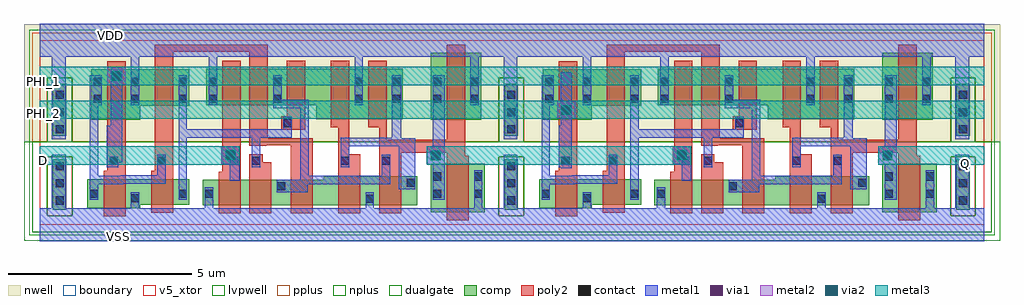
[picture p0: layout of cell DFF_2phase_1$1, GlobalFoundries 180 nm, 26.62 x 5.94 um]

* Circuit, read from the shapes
.subckt DFF_2phase_1$1 D PHI_1 PHI_2 Q VDD VSS
XM1 VSS PHI_1 n1 VSS nfet_05v0 w=0.79u l=0.6u
XM2 n2 n1 VSS VSS nfet_05v0 w=0.7u l=0.6u
XM3 n3 D VSS VSS nfet_05v0 w=0.7u l=0.6u
XM4 n4 n2 n3 VSS nfet_05v0 w=0.7u l=0.6u
XM5 n5 n1 n4 VSS nfet_05v0 w=0.7u l=0.6u
XM6 VSS n6 n5 VSS nfet_05v0 w=0.79u l=0.6u
XM7 n6 n4 VSS VSS nfet_05v0 w=0.79u l=0.6u
XM8 VSS n4 gf180mcu_fd_sc_mcu9t5v0__latq_1_4/D VSS nfet_05v0 w=1.32u l=0.6u
XM9 VSS PHI_2 n7 VSS nfet_05v0 w=0.79u l=0.6u
XM10 n8 n7 VSS VSS nfet_05v0 w=0.7u l=0.6u
XM11 n9 gf180mcu_fd_sc_mcu9t5v0__latq_1_4/D VSS VSS nfet_05v0 w=0.7u l=0.6u
XM12 n10 n8 n9 VSS nfet_05v0 w=0.7u l=0.6u
XM13 n11 n7 n10 VSS nfet_05v0 w=0.7u l=0.6u
XM14 VSS n12 n11 VSS nfet_05v0 w=0.79u l=0.6u
XM15 n12 n10 VSS VSS nfet_05v0 w=0.79u l=0.6u
XM16 VSS n10 Q VSS nfet_05v0 w=1.32u l=0.6u
XM17 VDD PHI_1 n1 VDD pfet_05v0 w=1.38u l=0.5u
XM18 n2 n1 VDD VDD pfet_05v0 w=1u l=0.5u
XM19 n13 D VDD VDD pfet_05v0 w=1u l=0.5u
XM20 n4 n1 n13 VDD pfet_05v0 w=1u l=0.5u
XM21 n14 n2 n4 VDD pfet_05v0 w=1u l=0.5u
XM22 VDD n6 n14 VDD pfet_05v0 w=1.38u l=0.5u
XM23 n6 n4 VDD VDD pfet_05v0 w=1.38u l=0.5u
XM24 VDD n4 gf180mcu_fd_sc_mcu9t5v0__latq_1_4/D VDD pfet_05v0 w=1.83u l=0.5u
XM25 VDD PHI_2 n7 VDD pfet_05v0 w=1.38u l=0.5u
XM26 n8 n7 VDD VDD pfet_05v0 w=1u l=0.5u
XM27 n15 gf180mcu_fd_sc_mcu9t5v0__latq_1_4/D VDD VDD pfet_05v0 w=1u l=0.5u
XM28 n10 n7 n15 VDD pfet_05v0 w=1u l=0.5u
XM29 n16 n8 n10 VDD pfet_05v0 w=1u l=0.5u
XM30 VDD n12 n16 VDD pfet_05v0 w=1.38u l=0.5u
XM31 n12 n10 VDD VDD pfet_05v0 w=1.38u l=0.5u
XM32 VDD n10 Q VDD pfet_05v0 w=1.83u l=0.5u
.ends

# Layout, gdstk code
import gdstk
lib = gdstk.Library(unit=1e-6, precision=1e-09)
def R(c, l, rs):  # rectangles x0, y0, x1, y1
    for r in rs: c.add(gdstk.rectangle(r[:2], r[2:], *l))
def A(c, l, x, y, w, h, nx, ny, dx, dy):  # array of equal rectangles
    R(c, l, [(x+i*dx, y+j*dy, x+i*dx+w, y+j*dy+h) for i in range(nx) for j in range(ny)])
def P(c, l, *ps):  # polygons
    for p in ps: c.add(gdstk.Polygon(p, *l))
boundary = (0, 0)
nwell = (21, 0)
comp = (22, 0)
poly2 = (30, 0)
pplus = (31, 0)
nplus = (32, 0)
contact = (33, 0)
metal1 = (34, 0)
via1 = (35, 0)
metal2 = (36, 0)
via2 = (38, 0)
metal3 = (42, 0)
dualgate = (55, 0)
v5_xtor = (112, 1)
lvpwell = (204, 0)

gf180mcu_fd_sc_mcu9t5v0_ = lib.new_cell('gf180mcu_fd_sc_mcu9t5v0__filltie')
R(gf180mcu_fd_sc_mcu9t5v0_, boundary, [(0,0,1.12,5.04)])
R(gf180mcu_fd_sc_mcu9t5v0_, nwell, [(-0.43,2.265,1.55,5.47)])
R(gf180mcu_fd_sc_mcu9t5v0_, comp, [(0.36,0.41,0.72,1.785), (0.36,2.425,0.72,3.855)])
R(gf180mcu_fd_sc_mcu9t5v0_, pplus, [(0.2,0.25,0.88,1.865)])
P(gf180mcu_fd_sc_mcu9t5v0_, pplus, [(-0.2,2.265),(-0.2,5.24),(1.32,5.24),(1.32,2.265),(0.88,2.265),(0.88,4.015),(0.2,4.015),(0.2,2.265)])
P(gf180mcu_fd_sc_mcu9t5v0_, nplus, [(-0.2,-0.2),(-0.2,2.265),(0.2,2.265),(0.2,4.015),(0.88,4.015),(0.88,1.865),(0.2,1.865),(0.2,0.25),(0.88,0.25),(0.88,4.015),(0.88,2.265),(1.32,2.265),(1.32,-0.2)])
A(gf180mcu_fd_sc_mcu9t5v0_, contact, 0.43, 0.555, 0.22, 0.22, 1, 3, 0, 0.47)
A(gf180mcu_fd_sc_mcu9t5v0_, contact, 0.43, 2.495, 0.22, 0.22, 1, 3, 0, 0.47)
P(gf180mcu_fd_sc_mcu9t5v0_, metal1, [(0,-0.45),(0,0.45),(0.33,0.45),(0.33,1.91),(0.71,1.91),(0.71,0.45),(1.12,0.45),(1.12,-0.45)],
  [(0.33,2.34),(0.33,4.59),(0,4.59),(0,5.49),(1.12,5.49),(1.12,4.59),(0.71,4.59),(0.71,2.34)])
R(gf180mcu_fd_sc_mcu9t5v0_, dualgate, [(-0.28,-0.28,1.4,5.32)])
R(gf180mcu_fd_sc_mcu9t5v0_, v5_xtor, [(0,0,1.12,5.04)])
R(gf180mcu_fd_sc_mcu9t5v0_, lvpwell, [(-0.43,-0.43,1.55,2.265)])
gf180mcu_fd_sc_mcu9t5v0_.add(gdstk.Label('VSS', (0.56,-0.45), layer=34, texttype=10))
gf180mcu_fd_sc_mcu9t5v0_.add(gdstk.Label('VDD', (0.56,5.49), layer=34, texttype=10))
gf180mcu_fd_sc_mcu9t5v0_.add(gdstk.Label('& Vendor GLOBALFOUNDRIES', (0,2), layer=63, texttype=63))
gf180mcu_fd_sc_mcu9t5v0_.add(gdstk.Label('& Product GF018hv5v_green_sc9', (0,1.5), layer=63, texttype=63))
gf180mcu_fd_sc_mcu9t5v0_.add(gdstk.Label('& Version 2015q2v2', (0,1), layer=63, texttype=63))
gf180mcu_fd_sc_mcu9t5v0_.add(gdstk.Label('& Metric 1.00', (0,0.5), layer=63, texttype=63))

c_gf180mcu_fd_sc_mcu9t5v0_ = lib.new_cell('gf180mcu_fd_sc_mcu9t5v0__latq_1')
R(c_gf180mcu_fd_sc_mcu9t5v0_, boundary, [(0,0,11.2,5.04)])
R(c_gf180mcu_fd_sc_mcu9t5v0_, nwell, [(-0.43,2.265,11.63,5.47)])
R(c_gf180mcu_fd_sc_mcu9t5v0_, comp, [(9.54,0.345,11.02,1.665), (9.54,2.865,10.92,4.695)])
P(c_gf180mcu_fd_sc_mcu9t5v0_, comp, [(0.18,0.46),(0.18,1.25),(2.96,1.25),(2.96,0.55),(1.62,0.55),(1.62,0.46)],
  [(0.28,2.865),(0.28,4.245),(2.96,4.245),(2.96,3.245),(1.62,3.245),(1.62,2.865)],
  [(6.42,2.88),(6.42,3.26),(3.42,3.26),(3.42,4.26),(8.78,4.26),(8.78,2.88)],
  [(3.32,0.535),(3.32,1.235),(6.62,1.235),(6.62,1.325),(9.18,1.325),(9.18,0.535)])
P(c_gf180mcu_fd_sc_mcu9t5v0_, poly2, [(0.62,0.24),(0.62,1.47),(0.72,1.47),(0.72,4.465),(1.22,4.465),(1.22,0.24)],
  [(3.76,0.315),(3.76,1.455),(3.86,1.455),(3.86,4.48),(4.36,4.48),(4.36,0.315)],
  [(4.6,0.315),(4.6,1.925),(4.96,1.925),(4.96,1.715),(5.2,1.715),(5.2,0.315)],
  [(5.46,2.6),(5.46,2.96),(5.62,2.96),(5.62,4.48),(6.12,4.48),(6.12,3.04),(6.115,3.04),(6.115,2.6)],
  [(5.72,0.315),(5.72,2.16),(5.055,2.16),(5.055,2.165),(4.6,2.165),(4.6,4.72),(2.52,4.72),(2.52,0.33),(1.92,0.33),(1.92,1.47),(2.02,1.47),(2.02,4.92),(5.1,4.92),(5.1,2.36),(6.32,2.36),(6.32,0.315)],
  [(7.02,0.315),(7.02,2.66),(6.82,2.66),(6.82,4.48),(7.32,4.48),(7.32,1.925),(7.62,1.925),(7.62,0.315)],
  [(9.98,0.125),(9.98,1.965),(8.74,1.965),(8.74,0.315),(8.14,0.315),(8.14,2.66),(7.84,2.66),(7.84,4.48),(8.34,4.48),(8.34,2.325),(9.98,2.325),(9.98,4.915),(10.48,4.915),(10.48,1.885),(10.58,1.885),(10.58,0.125)])
R(c_gf180mcu_fd_sc_mcu9t5v0_, pplus, [(-0.2,2.265,11.4,5.24)])
R(c_gf180mcu_fd_sc_mcu9t5v0_, nplus, [(-0.2,-0.2,11.4,2.265)])
R(c_gf180mcu_fd_sc_mcu9t5v0_, contact, [(7.77,0.605,7.99,0.825), (1.37,0.615,1.59,0.835), (0.25,0.74,0.47,0.96), (2.67,0.74,2.89,0.96), (3.39,0.74,3.61,0.96), (9.61,0.74,9.83,0.96), (10.73,0.74,10.95,0.96), (5.35,0.945,5.57,1.165), (8.89,1.035,9.11,1.255), (9.61,1.21,9.83,1.43), (10.73,1.21,10.95,1.43), (0.79,1.635,1.01,1.855), (2.09,1.635,2.31,1.855), (4.07,1.635,4.29,1.855), (4.67,1.635,4.89,1.855), (7.09,1.635,7.31,1.855), (8.21,1.635,8.43,1.855), (5.53,2.67,5.75,2.89), (0.35,3.33,0.57,3.55), (1.37,3.33,1.59,3.55), (2.67,3.33,2.89,3.55), (3.49,3.33,3.71,3.55), (5.25,3.33,5.47,3.55), (7.47,3.33,7.69,3.55), (8.49,3.33,8.71,3.55), (9.61,3.33,9.83,3.55), (10.63,3.33,10.85,3.55), (0.35,3.8,0.57,4.02), (1.37,3.8,1.59,4.02), (2.67,3.8,2.89,4.02), (3.49,3.8,3.71,4.02), (5.25,3.8,5.47,4.02), (7.47,3.8,7.69,4.02), (8.49,3.8,8.71,4.02), (9.61,3.8,9.83,4.02), (10.63,3.8,10.85,4.02)])
R(c_gf180mcu_fd_sc_mcu9t5v0_, metal1, [(9.605,0.68,9.93,4.08), (4.065,1.21,4.33,2.15), (0.71,1.575,1.015,2.71)])
P(c_gf180mcu_fd_sc_mcu9t5v0_, metal1, [(0.245,0.68),(0.245,4.08),(0.575,4.08),(0.575,3.27),(0.475,3.27),(0.475,1.345),(1.085,1.345),(1.085,1.355),(2.085,1.355),(2.085,1.915),(2.315,1.915),(2.315,1.125),(1.155,1.125),(1.155,1.115),(0.475,1.115),(0.475,0.68)],
  [(2.665,0.68),(2.665,4.08),(2.895,4.08),(2.895,2.61),(5.525,2.61),(5.525,2.95),(5.755,2.95),(5.755,2.38),(4.895,2.38),(4.895,1.575),(4.665,1.575),(4.665,2.38),(2.895,2.38),(2.895,0.68)],
  [(5.345,0.885),(5.345,1.225),(5.985,1.225),(5.985,3.18),(5.245,3.18),(5.245,4.08),(5.475,4.08),(5.475,3.41),(6.215,3.41),(6.215,1.345),(8.205,1.345),(8.205,1.915),(8.435,1.915),(8.435,1.115),(6.19,1.115),(6.19,0.885)],
  [(8.665,0.975),(8.665,2.145),(7.315,2.145),(7.315,1.575),(7.085,1.575),(7.085,2.375),(8.485,2.375),(8.485,4.08),(8.735,4.08),(8.735,2.365),(9.115,2.365),(9.115,0.975)],
  [(0,-0.45),(0,0.45),(1.365,0.45),(1.365,0.895),(1.595,0.895),(1.595,0.45),(3.385,0.45),(3.385,1.02),(3.615,1.02),(3.615,0.45),(7.765,0.45),(7.765,0.885),(7.995,0.885),(7.995,0.45),(10.725,0.45),(10.725,1.49),(10.955,1.49),(10.955,0.45),(11.2,0.45),(11.2,-0.45)],
  [(1.365,3.27),(1.365,4.59),(0,4.59),(0,5.49),(11.2,5.49),(11.2,4.59),(10.855,4.59),(10.855,3.27),(10.625,3.27),(10.625,4.59),(7.695,4.59),(7.695,3.27),(7.465,3.27),(7.465,4.59),(3.715,4.59),(3.715,3.27),(3.485,3.27),(3.485,4.59),(1.595,4.59),(1.595,3.27)])
R(c_gf180mcu_fd_sc_mcu9t5v0_, dualgate, [(-0.28,-0.28,11.48,5.32)])
R(c_gf180mcu_fd_sc_mcu9t5v0_, v5_xtor, [(0,0,11.2,5.04)])
R(c_gf180mcu_fd_sc_mcu9t5v0_, lvpwell, [(-0.43,-0.43,11.63,2.265)])
c_gf180mcu_fd_sc_mcu9t5v0_.add(gdstk.Label('D', (4.2,1.4), layer=34, texttype=10))
c_gf180mcu_fd_sc_mcu9t5v0_.add(gdstk.Label('E', (0.84,1.96), layer=34, texttype=10))
c_gf180mcu_fd_sc_mcu9t5v0_.add(gdstk.Label('Q', (9.8,2.52), layer=34, texttype=10))
c_gf180mcu_fd_sc_mcu9t5v0_.add(gdstk.Label('VDD', (5.6,5.49), layer=34, texttype=10))
c_gf180mcu_fd_sc_mcu9t5v0_.add(gdstk.Label('VSS', (5.6,-0.45), layer=34, texttype=10))
c_gf180mcu_fd_sc_mcu9t5v0_.add(gdstk.Label('& Vendor GLOBALFOUNDRIES', (0,2), layer=63, texttype=63))
c_gf180mcu_fd_sc_mcu9t5v0_.add(gdstk.Label('& Product GF018hv5v_green_sc9', (0,1.5), layer=63, texttype=63))
c_gf180mcu_fd_sc_mcu9t5v0_.add(gdstk.Label('& Version 2015q2v2', (0,1), layer=63, texttype=63))
c_gf180mcu_fd_sc_mcu9t5v0_.add(gdstk.Label('& Metric 1.00', (0,0.5), layer=63, texttype=63))
c_gf180mcu_fd_sc_mcu9t5v0_.add(gdstk.Label('VNW', (0.345,3.92), layer=21, texttype=10))
c_gf180mcu_fd_sc_mcu9t5v0_.add(gdstk.Label('VPW', (0.34,-0.085), layer=204, texttype=10))

via_dev = lib.new_cell('via_dev')
R(via_dev, metal1, [(0,0,0.5,0.5)])
R(via_dev, via1, [(0.12,0.12,0.38,0.38)])
R(via_dev, metal2, [(0,0,0.5,0.5)])

via_dev_3 = lib.new_cell('via_dev$3')
R(via_dev_3, metal2, [(0,0,0.5,0.5)])
R(via_dev_3, via2, [(0.12,0.12,0.38,0.38)])
R(via_dev_3, metal3, [(0,0,0.5,0.5)])

dff_2phase_1_1 = lib.new_cell('DFF_2phase_1$1')
R(dff_2phase_1_1, metal1, [(12.49,1.35,12.795,3.96), (0.22,1.5,0.525,4.11), (12.49,2.69,12.79,3.19), (0.22,3.61,0.52,4.11)])
R(dff_2phase_1_1, via1, [(12.51,2.81,12.77,3.07), (0.24,3.73,0.5,3.99)])
R(dff_2phase_1_1, metal2, [(12.44,2.69,12.84,3.19), (0.17,3.61,0.57,4.11)])
R(dff_2phase_1_1, metal3, [(-1.72,1.44,3.73,1.94), (8.83,1.44,16.05,1.94), (21.15,1.44,24.04,1.94), (-1.72,2.69,24.04,3.19), (-1.72,3.61,24.04,4.11)])
dff_2phase_1_1.add(gdstk.Reference(gf180mcu_fd_sc_mcu9t5v0_, (-1.72,-0.2)))
dff_2phase_1_1.add(gdstk.Reference(gf180mcu_fd_sc_mcu9t5v0_, (10.6,-0.2)))
dff_2phase_1_1.add(gdstk.Reference(c_gf180mcu_fd_sc_mcu9t5v0_, (-0.6,-0.2)))
dff_2phase_1_1.add(gdstk.Reference(gf180mcu_fd_sc_mcu9t5v0_, (22.92,-0.2)))
dff_2phase_1_1.add(gdstk.Reference(c_gf180mcu_fd_sc_mcu9t5v0_, (11.72,-0.2)))
dff_2phase_1_1.add(gdstk.Reference(via_dev, (8.83,1.44)))
dff_2phase_1_1.add(gdstk.Reference(via_dev_3, (8.83,1.44)))
dff_2phase_1_1.add(gdstk.Reference(via_dev, (15.55,1.45)))
dff_2phase_1_1.add(gdstk.Reference(via_dev_3, (15.55,1.45)))
dff_2phase_1_1.add(gdstk.Reference(via_dev, (3.23,1.45)))
dff_2phase_1_1.add(gdstk.Reference(via_dev_3, (3.23,1.45)))
dff_2phase_1_1.add(gdstk.Reference(via_dev, (21.15,1.44)))
dff_2phase_1_1.add(gdstk.Reference(via_dev_3, (21.15,1.44)))
dff_2phase_1_1.add(gdstk.Reference(via_dev_3, (12.39,2.69)))
dff_2phase_1_1.add(gdstk.Reference(via_dev_3, (0.12,3.61)))
dff_2phase_1_1.add(gdstk.Label('VDD', (0.21,4.97), layer=34, texttype=10))
dff_2phase_1_1.add(gdstk.Label('VSS', (0.44,-0.53), layer=34, texttype=10))
dff_2phase_1_1.add(gdstk.Label('PHI_1', (-1.62,3.71), layer=42, texttype=10))
dff_2phase_1_1.add(gdstk.Label('PHI_2', (-1.62,2.84), layer=42, texttype=10))
dff_2phase_1_1.add(gdstk.Label('D', (-1.63,1.56), layer=42, texttype=10))
dff_2phase_1_1.add(gdstk.Label('D', (-1.64,1.55), layer=42, texttype=10))
dff_2phase_1_1.add(gdstk.Label('Q', (23.53,1.48), layer=42, texttype=10))

lib.write_gds('DFF_2phase_1_1.gds')
